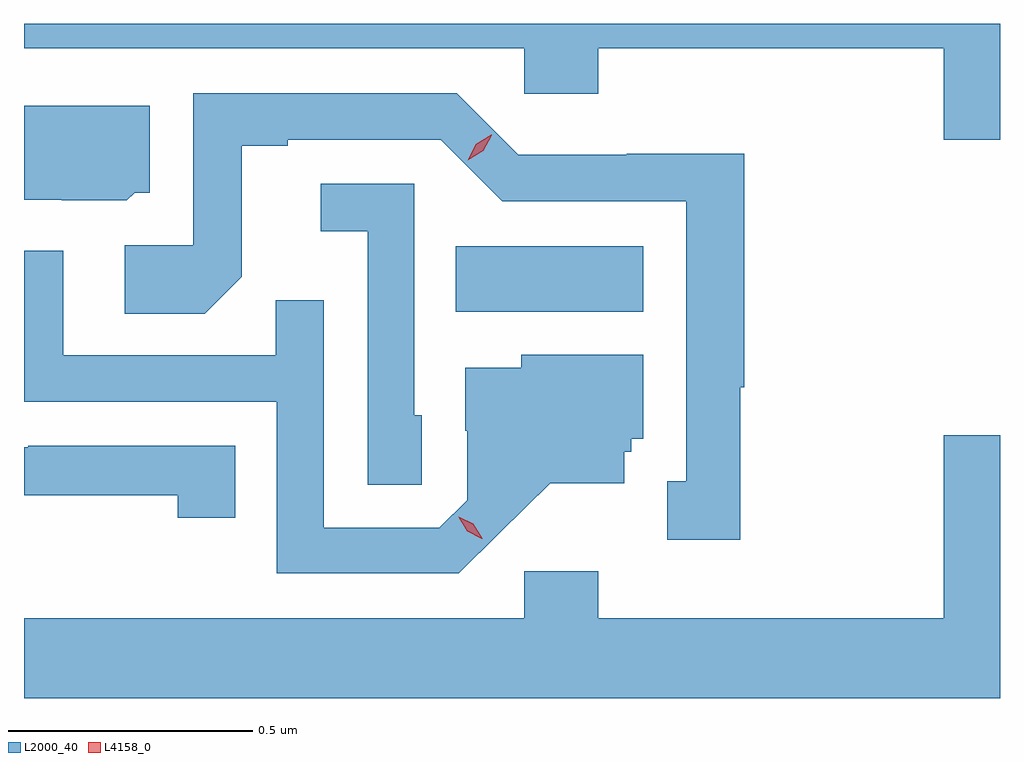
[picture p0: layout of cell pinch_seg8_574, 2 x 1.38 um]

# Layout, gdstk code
import gdstk
lib = gdstk.Library(unit=1e-6, precision=1e-09)
def R(c, l, rs):  # rectangles x0, y0, x1, y1
    for r in rs: c.add(gdstk.rectangle(r[:2], r[2:], *l))
def P(c, l, *ps):  # polygons
    for p in ps: c.add(gdstk.Polygon(p, *l))
L2000_40 = (2000, 40)
L4158_0 = (4158, 0)

pinch_seg8_574 = lib.new_cell('pinch_seg8_574')
R(pinch_seg8_574, L2000_40, [(140.032,1117.292,140.416,1117.426)])
P(pinch_seg8_574, L2000_40, [(141.147,1117.882),(139.147,1117.882),(139.147,1117.832),(140.172,1117.832),(140.172,1117.739),(140.324,1117.739),(140.324,1117.832),(141.032,1117.832),(141.032,1117.644),(141.147,1117.644)],
  [(140.615,1117.137),(140.623,1117.137),(140.623,1117.616),(140.382,1117.616),(140.382,1117.614),(140.16,1117.614),(140.034,1117.74),(139.494,1117.74),(139.494,1117.428),(139.353,1117.428),(139.353,1117.288),(139.517,1117.288),(139.593,1117.364),(139.593,1117.632),(139.687,1117.632),(139.687,1117.644),(140.001,1117.644),(140.127,1117.518),(140.504,1117.518),(140.504,1116.945),(140.465,1116.945),(140.465,1116.825),(140.615,1116.825)],
  [(139.374,1117.536),(139.405,1117.536),(139.405,1117.714),(139.147,1117.714),(139.147,1117.521),(139.224,1117.521),(139.224,1117.52),(139.358,1117.52)],
  [(139.962,1117.08),(139.947,1117.08),(139.947,1117.554),(139.755,1117.554),(139.755,1117.457),(139.851,1117.457),(139.851,1116.937),(139.962,1116.937)],
  [(140.122,1116.839),(140.225,1116.941),(140.377,1116.941),(140.377,1117.005),(140.391,1117.005),(140.391,1117.032),(140.416,1117.032),(140.416,1117.204),(140.166,1117.204),(140.166,1117.177),(140.051,1117.177),(140.051,1117.048),(140.055,1117.048),(140.055,1116.906),(139.998,1116.849),(139.761,1116.849),(139.761,1117.316),(139.663,1117.316),(139.663,1117.203),(139.227,1117.203),(139.227,1117.417),(139.147,1117.417),(139.147,1117.107),(139.665,1117.107),(139.665,1116.756),(140.038,1116.756)],
  [(141.147,1117.039),(141.032,1117.039),(141.032,1116.664),(140.324,1116.664),(140.324,1116.76),(140.172,1116.76),(140.172,1116.664),(139.147,1116.664),(139.147,1116.5),(141.147,1116.5)],
  [(139.58,1117.017),(139.156,1117.017),(139.156,1117.014),(139.147,1117.014),(139.147,1116.916),(139.462,1116.916),(139.462,1116.87),(139.58,1116.87)])
P(pinch_seg8_574, L4158_0, [(140.056,1117.602),(140.056,1117.602),(140.073,1117.635),(140.104,1117.655),(140.105,1117.655),(140.105,1117.654),(140.088,1117.622),(140.056,1117.602)],
  [(140.085,1116.827),(140.055,1116.842),(140.038,1116.871),(140.038,1116.872),(140.038,1116.872),(140.068,1116.857),(140.086,1116.828),(140.086,1116.827)])

lib.write_gds('pinch_seg8_574.gds')
